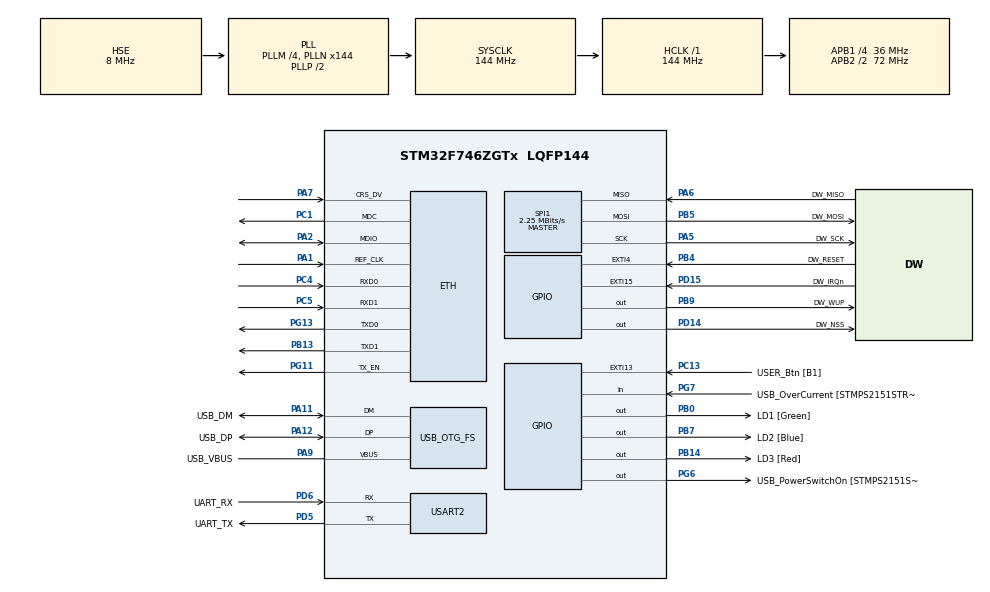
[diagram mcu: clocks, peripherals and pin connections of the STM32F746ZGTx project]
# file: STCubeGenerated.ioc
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ETH.MediaInterface=ETH_MEDIA_INTERFACE_RMII
Mcu.Family=STM32F7
Mcu.Name=STM32F746ZGTx
Mcu.Package=LQFP144
NVIC.EXTI15_10_IRQn=true\:3\:0\:true\:true\:true\:2\:true
NVIC.EXTI4_IRQn=true\:0\:0\:false\:true\:true\:3\:true
NVIC.OTG_FS_IRQn=true\:7\:0\:true\:true\:true\:1\:false
NVIC.PriorityGroup=NVIC_PRIORITYGROUP_4
NVIC.USART2_IRQn=true\:0\:0\:false\:false\:true\:true
PA1.Mode=RMII
PA1.Signal=ETH_REF_CLK
PA10.GPIO_Label=USB_ID
PA10.Signal=USB_OTG_FS_ID
PA11.GPIO_Label=USB_DM
PA11.Mode=Device_Only
PA11.Signal=USB_OTG_FS_DM
PA12.GPIO_Label=USB_DP
PA12.Mode=Device_Only
PA12.Signal=USB_OTG_FS_DP
PA13.GPIO_Label=TMS
PA13.Mode=Serial_Wire
PA13.Signal=SYS_JTMS-SWDIO
PA14.GPIO_Label=TCK
PA14.Mode=Serial_Wire
PA14.Signal=SYS_JTCK-SWCLK
PA2.Mode=RMII
PA2.Signal=ETH_MDIO
PA5.GPIO_Label=DW_SCK
PA5.GPIO_Speed=GPIO_SPEED_FREQ_HIGH
PA5.Mode=Full_Duplex_Master
PA5.Signal=SPI1_SCK
PA6.GPIO_Label=DW_MISO
PA6.GPIO_PuPd=GPIO_PULLUP
PA6.GPIO_Speed=GPIO_SPEED_FREQ_HIGH
PA6.Mode=Full_Duplex_Master
PA6.Signal=SPI1_MISO
PA7.Mode=RMII
PA7.Signal=ETH_CRS_DV
PA9.GPIO_Label=USB_VBUS
PA9.Mode=Activate_VBUS
PA9.Signal=USB_OTG_FS_VBUS
PB0.GPIO_Label=LD1 [Green]
PB0.Signal=GPIO_Output
PB13.Mode=RMII
PB13.Signal=ETH_TXD1
PB14.GPIO_Label=LD3 [Red]
PB14.Signal=GPIO_Output
PB3.GPIO_Label=SW0
PB3.Signal=SYS_JTDO-SWO
PB4.GPIO_Label=DW_RESET
PB4.Signal=GPXTI4
PB5.GPIO_Label=DW_MOSI
PB5.GPIO_PuPd=GPIO_PULLUP
PB5.GPIO_Speed=GPIO_SPEED_FREQ_HIGH
PB5.Mode=Full_Duplex_Master
PB5.Signal=SPI1_MOSI
PB7.GPIO_Label=LD2 [Blue]
PB7.Signal=GPIO_Output
PB9.GPIO_Label=DW_WUP
PB9.GPIO_ModeDefaultOutputPP=GPIO_MODE_OUTPUT_OD
PB9.GPIO_Speed=GPIO_SPEED_FREQ_HIGH
PB9.PinState=GPIO_PIN_SET
PB9.Signal=GPIO_Output
PC1.Mode=RMII
PC1.Signal=ETH_MDC
PC13.GPIO_Label=USER_Btn [B1]
PC13.Signal=GPXTI13
PC14/OSC32_IN.Mode=LSE-External-Oscillator
PC14/OSC32_IN.Signal=RCC_OSC32_IN
PC15/OSC32_OUT.Mode=LSE-External-Oscillator
PC15/OSC32_OUT.Signal=RCC_OSC32_OUT
PC4.Mode=RMII
PC4.Signal=ETH_RXD0
PC5.Mode=RMII
PC5.Signal=ETH_RXD1
PD14.GPIO_Label=DW_NSS
PD14.GPIO_Speed=GPIO_SPEED_FREQ_HIGH
PD14.PinState=GPIO_PIN_SET
PD14.Signal=GPIO_Output
PD15.GPIO_Label=DW_IRQn
PD15.GPIO_PuPd=GPIO_PULLDOWN
PD15.Signal=GPXTI15
PD5.GPIO_Label=UART_TX
PD5.GPIO_PuPd=GPIO_PULLUP
PD5.Mode=Asynchronous
PD5.Signal=USART2_TX
PD6.GPIO_Label=UART_RX
PD6.GPIO_PuPd=GPIO_PULLUP
PD6.Mode=Asynchronous
PD6.Signal=USART2_RX
PD8.Signal=USART3_TX
PG11.Mode=RMII
PG11.Signal=ETH_TX_EN
PG13.Mode=RMII
PG13.Signal=ETH_TXD0
PG6.GPIO_Label=USB_PowerSwitchOn [STMPS2151STR_EN]
PG6.Signal=GPIO_Output
PG7.GPIO_Label=USB_OverCurrent [STMPS2151STR_FAULT]
PG7.Signal=GPIO_Input
PH0/OSC_IN.Mode=HSE-External-Clock-Source
PH0/OSC_IN.Signal=RCC_OSC_IN
PH1/OSC_OUT.Mode=HSE-External-Clock-Source
PH1/OSC_OUT.Signal=RCC_OSC_OUT
ProjectManager.HeapSize=0x200
ProjectManager.StackSize=0x400
ProjectManager.TargetToolchain=MDK-ARM V5
RCC.AHBFreq_Value=144000000
RCC.APB1CLKDivider=RCC_HCLK_DIV4
RCC.APB1Freq_Value=36000000
RCC.APB1TimFreq_Value=72000000
RCC.APB2CLKDivider=RCC_HCLK_DIV2
RCC.APB2Freq_Value=72000000
RCC.APB2TimFreq_Value=144000000
RCC.CortexFreq_Value=144000000
RCC.HCLKFreq_Value=144000000
RCC.HSE_VALUE=8000000
RCC.HSI_VALUE=16000000
RCC.PLLM=4
RCC.PLLN=144
RCC.PLLQ=6
RCC.SYSCLKFreq_VALUE=144000000
RCC.SYSCLKSource=RCC_SYSCLKSOURCE_PLLCLK
RCC.USBFreq_Value=48000000
RCC.VCOOutputFreq_Value=288000000
SPI1.BaudRatePrescaler=SPI_BAUDRATEPRESCALER_32
SPI1.CalculateBaudRate=2.25 MBits/s
SPI1.DataSize=SPI_DATASIZE_8BIT
SPI1.Direction=SPI_DIRECTION_2LINES
SPI1.Mode=SPI_MODE_MASTER
SPI1.NSSPMode=SPI_NSS_PULSE_DISABLE
SPI1.VirtualType=VM_MASTER
USART2.VirtualMode-Asynchronous=VM_ASYNC
USART2.WordLength=WORDLENGTH_8B
USB_DEVICE.CLASS_NAME_FS=CDC
USB_DEVICE.VirtualMode-CDC_FS=Cdc
USB_DEVICE.VirtualModeFS=Cdc_FS
USB_OTG_FS.VirtualMode=Device_Only
VP_USB_DEVICE_VS_USB_DEVICE_CDC_FS.Mode=CDC_FS
board=STCubeGenerated

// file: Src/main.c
/**
  ******************************************************************************
  * @file           : main.c
  * @brief          : Main program body
  ******************************************************************************
  * This notice applies to any and all portions of this file
  * that are not between comment pairs USER CODE BEGIN and
  * USER CODE END. Other portions of this file, whether
  * inserted by the user or by software development tools
  * are owned by their respective copyright owners.
  *
  * Copyright (c) 2018 STMicroelectronics International N.V.
  * All rights reserved.
  *
  * Redistribution and use in source and binary forms, with or without
  * modification, are permitted, provided that the following conditions are met:
  *
  * 1. Redistribution of source code must retain the above copyright notice,
  *    this list of conditions and the following disclaimer.
  * 2. Redistributions in binary form must reproduce the above copyright notice,
  *    this list of conditions and the following disclaimer in the documentation
  *    and/or other materials provided with the distribution.
  * 3. Neither the name of STMicroelectronics nor the names of other
  *    contributors to this software may be used to endorse or promote products
  *    derived from this software without specific written permission.
  * 4. This software, including modifications and/or derivative works of this
  *    software, must execute solely and exclusively on microcontroller or
  *    microprocessor devices manufactured by or for STMicroelectronics.
  * 5. Redistribution and use of this software other than as permitted under
  *    this license is void and will automatically terminate your rights under
  *    this license.
  *
  * THIS SOFTWARE IS PROVIDED BY STMICROELECTRONICS AND CONTRIBUTORS "AS IS"
  * AND ANY EXPRESS, IMPLIED OR STATUTORY WARRANTIES, INCLUDING, BUT NOT
  * LIMITED TO, THE IMPLIED WARRANTIES OF MERCHANTABILITY, FITNESS FOR A
  * PARTICULAR PURPOSE AND NON-INFRINGEMENT OF THIRD PARTY INTELLECTUAL PROPERTY
  * RIGHTS ARE DISCLAIMED TO THE FULLEST EXTENT PERMITTED BY LAW. IN NO EVENT
  * SHALL STMICROELECTRONICS OR CONTRIBUTORS BE LIABLE FOR ANY DIRECT, INDIRECT,
  * INCIDENTAL, SPECIAL, EXEMPLARY, OR CONSEQUENTIAL DAMAGES (INCLUDING, BUT NOT
  * LIMITED TO, PROCUREMENT OF SUBSTITUTE GOODS OR SERVICES; LOSS OF USE, DATA,
  * OR PROFITS; OR BUSINESS INTERRUPTION) HOWEVER CAUSED AND ON ANY THEORY OF
  * LIABILITY, WHETHER IN CONTRACT, STRICT LIABILITY, OR TORT (INCLUDING
  * NEGLIGENCE OR OTHERWISE) ARISING IN ANY WAY OUT OF THE USE OF THIS SOFTWARE,
  * EVEN IF ADVISED OF THE POSSIBILITY OF SUCH DAMAGE.
  *
  ******************************************************************************
  */
#include "main.h"
#include "stm32f7xx_hal.h"
#include "usb_device.h"

/* USER CODE BEGIN Includes */
#include "stm32f7xx_nucleo_144.h"
#include <stdio.h>
#include <stdlib.h>
#include "port.h"
#include "deca_device_api.h"
#include "deca_regs.h"
#include "sleep.h"
#include "usbd_cdc_if.h"
#include "cmsis_os.h"                   // ARM::CMSIS:RTOS:Keil RTX

/* USER CODE END Includes */

ETH_HandleTypeDef heth;

SPI_HandleTypeDef hspi1;

UART_HandleTypeDef huart2;

/* USER CODE BEGIN PV */
/* Private variables ---------------------------------------------------------*/
app_t 	app;												// For USB
uint8_t BlinkSpeed = 0;

extern USBD_HandleTypeDef hUsbDeviceFS;

/* USER CODE END PV */

void SystemClock_Config(void);
static void MX_GPIO_Init(void);
static void MX_ETH_Init(void);
static void MX_SPI1_Init(void);
static void MX_USART2_UART_Init(void);
static void MX_NVIC_Init(void);

/* USER CODE BEGIN PFP */
/* Private function prototypes -----------------------------------------------*/
static void LED2_Blink(void);

/*-----------MULTITHREADING--------------*/
extern int Init_RXThread (void);
extern int Init_uartThread (void);

/*-----------UART--------------*/
uint8_t u5_TxStartMessage[] = "\n\r ****WELCOME TO UWB Receive Testing****\n\r *****APP V0.1*****\n\r";

/* USER CODE END PFP */

/* USER CODE BEGIN 0 */

extern uint32_t os_time;

	uint32_t HAL_GetTick(void) {           // Add HAL_GetTick function for STM32Cube HAL
  return os_time;
}

/* USER CODE END 0 */

int main(void)
{

  /* MCU Configuration----------------------------------------------------------*/

  /* Reset of all peripherals, Initializes the Flash interface and the Systick. */
  HAL_Init();

  /* USER CODE BEGIN Init */
	osKernelInitialize (); // Initialize RTOS Kernel for setup
  /* USER CODE END Init */

  /* Configure the system clock */
  SystemClock_Config();

  /* Initialize all configured peripherals */
  MX_GPIO_Init();
  MX_ETH_Init();
  MX_SPI1_Init();
  MX_USB_DEVICE_Init();
  MX_USART2_UART_Init();

  /* Initialize interrupts */
  MX_NVIC_Init();
  /* USER CODE BEGIN 2 */

		Init_RXThread();
		Init_uartThread();

		osKernelStart (); // Begin thread switching

		if(HAL_UART_Transmit_IT(&huart2, (uint8_t*)u5_TxStartMessage, sizeof(u5_TxStartMessage))!= HAL_OK)
		{
			/* Transfer error in transmission process */
			Error_Handler();
		}

//	LED2_Blink();
  /* USER CODE END 2 */

  /* Infinite loop */
  /* USER CODE BEGIN WHILE */
//  while (1)
//  {

  /* USER CODE END WHILE */

  /* USER CODE BEGIN 3 */

//

//  }
  /* USER CODE END 3 */

}

void SystemClock_Config(void)
{

  RCC_OscInitTypeDef RCC_OscInitStruct;
  RCC_ClkInitTypeDef RCC_ClkInitStruct;
  RCC_PeriphCLKInitTypeDef PeriphClkInitStruct;

    /**Configure the main internal regulator output voltage
    */
  __HAL_RCC_PWR_CLK_ENABLE();

  __HAL_PWR_VOLTAGESCALING_CONFIG(PWR_REGULATOR_VOLTAGE_SCALE3);

    /**Initializes the CPU, AHB and APB busses clocks
    */
  RCC_OscInitStruct.OscillatorType = RCC_OSCILLATORTYPE_HSE;
  RCC_OscInitStruct.HSEState = RCC_HSE_BYPASS;
  RCC_OscInitStruct.PLL.PLLState = RCC_PLL_ON;
  RCC_OscInitStruct.PLL.PLLSource = RCC_PLLSOURCE_HSE;
  RCC_OscInitStruct.PLL.PLLM = 4;
  RCC_OscInitStruct.PLL.PLLN = 144;
  RCC_OscInitStruct.PLL.PLLP = RCC_PLLP_DIV2;
  RCC_OscInitStruct.PLL.PLLQ = 6;
  if (HAL_RCC_OscConfig(&RCC_OscInitStruct) != HAL_OK)
  {
    _Error_Handler(__FILE__, __LINE__);
  }

    /**Initializes the CPU, AHB and APB busses clocks
    */
  RCC_ClkInitStruct.ClockType = RCC_CLOCKTYPE_HCLK|RCC_CLOCKTYPE_SYSCLK
                              |RCC_CLOCKTYPE_PCLK1|RCC_CLOCKTYPE_PCLK2;
  RCC_ClkInitStruct.SYSCLKSource = RCC_SYSCLKSOURCE_PLLCLK;
  RCC_ClkInitStruct.AHBCLKDivider = RCC_SYSCLK_DIV1;
  RCC_ClkInitStruct.APB1CLKDivider = RCC_HCLK_DIV4;
  RCC_ClkInitStruct.APB2CLKDivider = RCC_HCLK_DIV2;

  if (HAL_RCC_ClockConfig(&RCC_ClkInitStruct, FLASH_LATENCY_4) != HAL_OK)
  {
    _Error_Handler(__FILE__, __LINE__);
  }

  PeriphClkInitStruct.PeriphClockSelection = RCC_PERIPHCLK_USART2|RCC_PERIPHCLK_CLK48;
  PeriphClkInitStruct.Usart2ClockSelection = RCC_USART2CLKSOURCE_PCLK1;
  PeriphClkInitStruct.Clk48ClockSelection = RCC_CLK48SOURCE_PLL;
  if (HAL_RCCEx_PeriphCLKConfig(&PeriphClkInitStruct) != HAL_OK)
  {
    _Error_Handler(__FILE__, __LINE__);
  }

    /**Configure the Systick interrupt time
    */
  HAL_SYSTICK_Config(HAL_RCC_GetHCLKFreq()/1000);

    /**Configure the Systick
    */
  HAL_SYSTICK_CLKSourceConfig(SYSTICK_CLKSOURCE_HCLK);

  /* SysTick_IRQn interrupt configuration */
  HAL_NVIC_SetPriority(SysTick_IRQn, 15, 0);
}

/**
  * @brief NVIC Configuration.
  * @retval None
  */
static void MX_NVIC_Init(void)
{
  /* OTG_FS_IRQn interrupt configuration */
  HAL_NVIC_SetPriority(OTG_FS_IRQn, 7, 0);
  HAL_NVIC_EnableIRQ(OTG_FS_IRQn);
  /* EXTI15_10_IRQn interrupt configuration */
  HAL_NVIC_SetPriority(EXTI15_10_IRQn, 3, 0);
  HAL_NVIC_EnableIRQ(EXTI15_10_IRQn);
  /* EXTI4_IRQn interrupt configuration */
  HAL_NVIC_SetPriority(EXTI4_IRQn, 0, 0);
  HAL_NVIC_EnableIRQ(EXTI4_IRQn);
}

/* ETH init function */
static void MX_ETH_Init(void)
{

   uint8_t MACAddr[6] ;

  heth.Instance = ETH;
  heth.Init.AutoNegotiation = ETH_AUTONEGOTIATION_ENABLE;
  heth.Init.PhyAddress = LAN8742A_PHY_ADDRESS;
  MACAddr[0] = 0x00;
  MACAddr[1] = 0x80;
  MACAddr[2] = 0xE1;
  MACAddr[3] = 0x00;
  MACAddr[4] = 0x00;
  MACAddr[5] = 0x00;
  heth.Init.MACAddr = &MACAddr[0];
  heth.Init.RxMode = ETH_RXPOLLING_MODE;
  heth.Init.ChecksumMode = ETH_CHECKSUM_BY_HARDWARE;
  heth.Init.MediaInterface = ETH_MEDIA_INTERFACE_RMII;

  if (HAL_ETH_Init(&heth) != HAL_OK)
  {
    _Error_Handler(__FILE__, __LINE__);
  }

}

/* SPI1 init function */
static void MX_SPI1_Init(void)
{

  /* SPI1 parameter configuration*/
  hspi1.Instance = SPI1;
  hspi1.Init.Mode = SPI_MODE_MASTER;
  hspi1.Init.Direction = SPI_DIRECTION_2LINES;
  hspi1.Init.DataSize = SPI_DATASIZE_8BIT;
  hspi1.Init.CLKPolarity = SPI_POLARITY_LOW;
  hspi1.Init.CLKPhase = SPI_PHASE_1EDGE;
  hspi1.Init.NSS = SPI_NSS_SOFT;
  hspi1.Init.BaudRatePrescaler = SPI_BAUDRATEPRESCALER_32;
  hspi1.Init.FirstBit = SPI_FIRSTBIT_MSB;
  hspi1.Init.TIMode = SPI_TIMODE_DISABLE;
  hspi1.Init.CRCCalculation = SPI_CRCCALCULATION_DISABLE;
  hspi1.Init.CRCPolynomial = 7;
  hspi1.Init.CRCLength = SPI_CRC_LENGTH_DATASIZE;
  hspi1.Init.NSSPMode = SPI_NSS_PULSE_DISABLE;
  if (HAL_SPI_Init(&hspi1) != HAL_OK)
  {
    _Error_Handler(__FILE__, __LINE__);
  }

}

/* USART2 init function */
static void MX_USART2_UART_Init(void)
{

  huart2.Instance = USART2;
  huart2.Init.BaudRate = 115200;
  huart2.Init.WordLength = UART_WORDLENGTH_8B;
  huart2.Init.StopBits = UART_STOPBITS_1;
  huart2.Init.Parity = UART_PARITY_NONE;
  huart2.Init.Mode = UART_MODE_TX_RX;
  huart2.Init.HwFlowCtl = UART_HWCONTROL_NONE;
  huart2.Init.OverSampling = UART_OVERSAMPLING_16;
  huart2.Init.OneBitSampling = UART_ONE_BIT_SAMPLE_DISABLE;
  huart2.AdvancedInit.AdvFeatureInit = UART_ADVFEATURE_NO_INIT;
  if (HAL_UART_Init(&huart2) != HAL_OK)
  {
    _Error_Handler(__FILE__, __LINE__);
  }

}

/** Configure pins as
        * Analog
        * Input
        * Output
        * EVENT_OUT
        * EXTI
     PD8   ------> USART3_TX
*/
static void MX_GPIO_Init(void)
{

  GPIO_InitTypeDef GPIO_InitStruct;

  /* GPIO Ports Clock Enable */
  __HAL_RCC_GPIOC_CLK_ENABLE();
  __HAL_RCC_GPIOH_CLK_ENABLE();
  __HAL_RCC_GPIOA_CLK_ENABLE();
  __HAL_RCC_GPIOB_CLK_ENABLE();
  __HAL_RCC_GPIOD_CLK_ENABLE();
  __HAL_RCC_GPIOG_CLK_ENABLE();

  /*Configure GPIO pin Output Level */
  HAL_GPIO_WritePin(GPIOB, LD1_Pin|LD3_Pin|LD2_Pin, GPIO_PIN_RESET);

  /*Configure GPIO pin Output Level */
  HAL_GPIO_WritePin(DW_NSS_GPIO_Port, DW_NSS_Pin, GPIO_PIN_SET);

  /*Configure GPIO pin Output Level */
  HAL_GPIO_WritePin(USB_PowerSwitchOn_GPIO_Port, USB_PowerSwitchOn_Pin, GPIO_PIN_RESET);

  /*Configure GPIO pin Output Level */
  HAL_GPIO_WritePin(DW_WUP_GPIO_Port, DW_WUP_Pin, GPIO_PIN_SET);

  /*Configure GPIO pin : USER_Btn_Pin */
  GPIO_InitStruct.Pin = USER_Btn_Pin;
  GPIO_InitStruct.Mode = GPIO_MODE_IT_RISING;
  GPIO_InitStruct.Pull = GPIO_NOPULL;
  HAL_GPIO_Init(USER_Btn_GPIO_Port, &GPIO_InitStruct);

  /*Configure GPIO pins : LD1_Pin LD3_Pin LD2_Pin */
  GPIO_InitStruct.Pin = LD1_Pin|LD3_Pin|LD2_Pin;
  GPIO_InitStruct.Mode = GPIO_MODE_OUTPUT_PP;
  GPIO_InitStruct.Pull = GPIO_NOPULL;
  GPIO_InitStruct.Speed = GPIO_SPEED_FREQ_LOW;
  HAL_GPIO_Init(GPIOB, &GPIO_InitStruct);

  /*Configure GPIO pin : PD8 */
  GPIO_InitStruct.Pin = GPIO_PIN_8;
  GPIO_InitStruct.Mode = GPIO_MODE_AF_PP;
  GPIO_InitStruct.Pull = GPIO_NOPULL;
  GPIO_InitStruct.Speed = GPIO_SPEED_FREQ_VERY_HIGH;
  GPIO_InitStruct.Alternate = GPIO_AF7_USART3;
  HAL_GPIO_Init(GPIOD, &GPIO_InitStruct);

  /*Configure GPIO pin : DW_NSS_Pin */
  GPIO_InitStruct.Pin = DW_NSS_Pin;
  GPIO_InitStruct.Mode = GPIO_MODE_OUTPUT_PP;
  GPIO_InitStruct.Pull = GPIO_NOPULL;
  GPIO_InitStruct.Speed = GPIO_SPEED_FREQ_HIGH;
  HAL_GPIO_Init(DW_NSS_GPIO_Port, &GPIO_InitStruct);

  /*Configure GPIO pin : DW_IRQn_Pin */
  GPIO_InitStruct.Pin = DW_IRQn_Pin;
  GPIO_InitStruct.Mode = GPIO_MODE_IT_RISING;
  GPIO_InitStruct.Pull = GPIO_PULLDOWN;
  HAL_GPIO_Init(DW_IRQn_GPIO_Port, &GPIO_InitStruct);

  /*Configure GPIO pin : USB_PowerSwitchOn_Pin */
  GPIO_InitStruct.Pin = USB_PowerSwitchOn_Pin;
  GPIO_InitStruct.Mode = GPIO_MODE_OUTPUT_PP;
  GPIO_InitStruct.Pull = GPIO_NOPULL;
  GPIO_InitStruct.Speed = GPIO_SPEED_FREQ_LOW;
  HAL_GPIO_Init(USB_PowerSwitchOn_GPIO_Port, &GPIO_InitStruct);

  /*Configure GPIO pin : USB_OverCurrent_Pin */
  GPIO_InitStruct.Pin = USB_OverCurrent_Pin;
  GPIO_InitStruct.Mode = GPIO_MODE_INPUT;
  GPIO_InitStruct.Pull = GPIO_NOPULL;
  HAL_GPIO_Init(USB_OverCurrent_GPIO_Port, &GPIO_InitStruct);

  /*Configure GPIO pin : DW_RESET_Pin */
  GPIO_InitStruct.Pin = DW_RESET_Pin;
  GPIO_InitStruct.Mode = GPIO_MODE_IT_RISING;
  GPIO_InitStruct.Pull = GPIO_NOPULL;
  HAL_GPIO_Init(DW_RESET_GPIO_Port, &GPIO_InitStruct);

  /*Configure GPIO pin : DW_WUP_Pin */
  GPIO_InitStruct.Pin = DW_WUP_Pin;
  GPIO_InitStruct.Mode = GPIO_MODE_OUTPUT_OD;
  GPIO_InitStruct.Pull = GPIO_NOPULL;
  GPIO_InitStruct.Speed = GPIO_SPEED_FREQ_HIGH;
  HAL_GPIO_Init(DW_WUP_GPIO_Port, &GPIO_InitStruct);

}

/* USER CODE BEGIN 4 */
/**
  * @brief  Blinks LED2 with two frequencies depending on User press button.
  * @param  None
  * @retval None
  */
static void LED2_Blink(void)
{
  /* Configure LED2 on Nucleo */
  BSP_LED_Init(LED2);

  /* Configure the User Button in EXTI Mode */
  BSP_PB_Init(BUTTON_USER, BUTTON_MODE_EXTI);

  /* Initiate BlinkSpeed variable */
  BlinkSpeed = 0;

  /* Infinite loop */
  while(1)
  {
    /* Test on blink speed */
    if(BlinkSpeed == 0)
    {
      BSP_LED_Toggle(LED2);
      /* Wait for 500ms */
      HAL_Delay(500);
    }
    else if(BlinkSpeed == 1)
    {
      BSP_LED_Toggle(LED2);
      /* Wait for 100ms */
      HAL_Delay(100);
    }
    else if(BlinkSpeed == 2)
    {
      BSP_LED_Toggle(LED2);
      /* Wait for 50ms */
      HAL_Delay(50);
    }
  }
}

/**
  * @brief  EXTI line detection callbacks.
  * @param  GPIO_Pin: Specifies the pins connected EXTI line
  * @retval None
  */
//void HAL_GPIO_EXTI_Callback(uint16_t GPIO_Pin)
//{
//  if(BlinkSpeed == 2)
//  {
//    BlinkSpeed = 0;
//  }
//  else
//  {
//    BlinkSpeed ++;
//  }
//}

/* USER CODE END 4 */

void _Error_Handler(char *file, int line)
{
  while(1)
  {
  }
}

/************************ (C) COPYRIGHT STMicroelectronics *****END OF FILE****/
